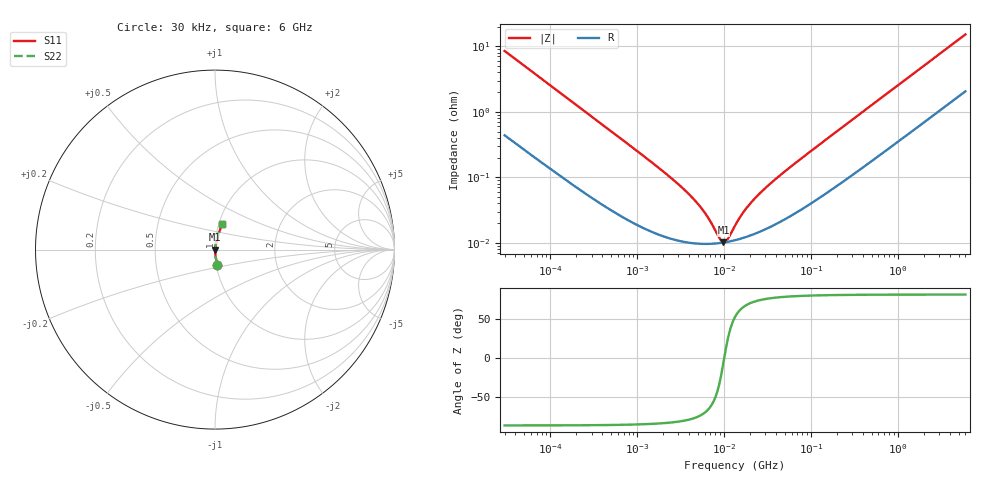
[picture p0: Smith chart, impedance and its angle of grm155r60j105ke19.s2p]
!Murata Part Number:GRM155R60J105KE19
!These Parameters are Measured in Series Mode Connection
!  o--ll--o
!Port1  Port2
!  o------o
!Operation Temp=25[C], DC Bias Voltage=0[V]
!Freq. Start=30[kHz] Stop=6[GHz], 201[Steps]
# Hz S DB R 50
!Freq.[Hz] MagS11[dB] PhaseS11[DEG] MagS21[dB] PhaseS21[DEG] MagS12[dB] PhaseS12[DEG] MagS22[dB] PhaseS22[DEG]
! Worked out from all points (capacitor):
!   201 points, 30 kHz to 6 GHz, reference 50 ohm
!   read as one part in series: C = 625 nF near 31.89 kHz
!   lowest |Z| = 10.1 mohm at 9.888 MHz (marker M1)
!   series resonance near 10.08 MHz, so ESL is about 400 pH
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30000  -21.48 -82.2  -0.07 4.8  -0.07 4.8  -21.48 -82.2
70501  -28.85 -84.9  -0.02 2.1  -0.02 2.1  -28.85 -84.9
238944  -39.44 -86.2  -0.01 0.6  -0.01 0.6  -39.44 -86.2
1790467  -57.18 -84.4  -0.00 0.1  -0.00 0.1  -57.18 -84.4
3296232  -63.12 -81.3  -0.00 0.0  -0.00 0.0  -63.12 -81.3
4207638  -65.85 -78.7  -0.00 0.0  -0.00 0.0  -65.85 -78.7
5053053  -68.18 -75.6  -0.00 0.0  -0.00 0.0  -68.18 -75.6
6450219  -71.96 -67.6  -0.00 0.0  -0.00 0.0  -71.96 -67.6
8751857  -78.27 -36.0  -0.00 0.0  -0.00 0.0  -78.27 -36.0
9302622  -79.35 -22.2  -0.00 0.0  -0.00 0.0  -79.35 -22.2
9888047  -79.88 -5.5  -0.00 0.0  -0.00 0.0  -79.88 -5.5
1.051031e7  -79.62 11.7  -0.00 -0.0  -0.00 -0.0  -79.62 11.7
1.117174e7  -78.70 26.6  -0.00 -0.0  -0.00 -0.0  -78.70 26.6
1.341641e7  -74.76 53.2  -0.00 -0.0  -0.00 -0.0  -74.76 53.2
1.515816e7  -72.37 61.6  -0.00 -0.0  -0.00 -0.0  -72.37 61.6
1.82038e7  -69.38 68.7  -0.00 -0.0  -0.00 -0.0  -69.38 68.7
2.625384e7  -64.72 75.1  -0.00 -0.0  -0.00 -0.0  -64.72 75.1
4.833307e7  -58.56 79.1  -0.00 -0.1  -0.00 -0.1  -58.56 79.1
1.068591e8  -51.41 80.8  -0.00 -0.2  -0.00 -0.2  -51.41 80.8
8.007212e8  -33.89 80.9  -0.03 -1.1  -0.03 -1.1  -33.89 80.9
2.553167e9  -23.89 78.5  -0.09 -3.6  -0.09 -3.6  -23.89 78.5
6e9  -16.64 73.8  -0.27 -8.4  -0.27 -8.4  -16.64 73.8
